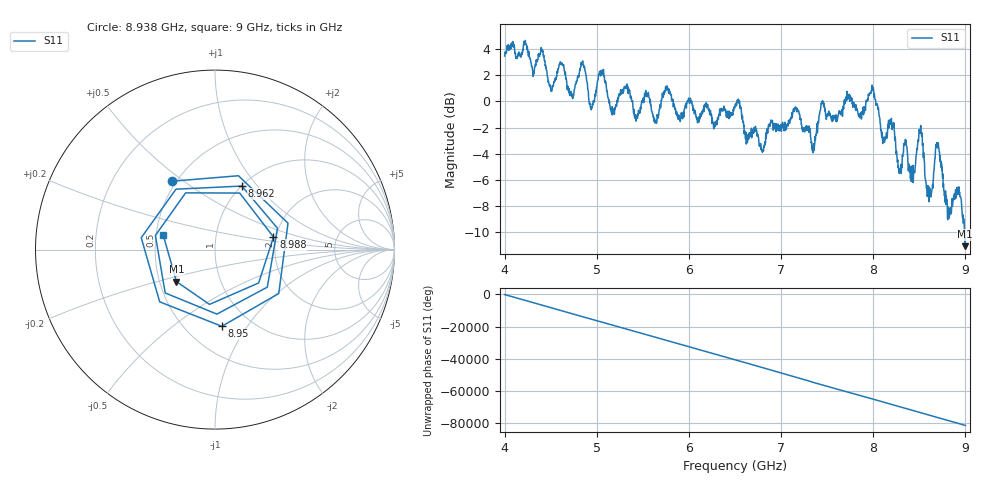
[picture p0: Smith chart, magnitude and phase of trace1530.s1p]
! Created with skrf 1.8.0 (http://scikit-rf.org).
# Hz S RI R 50.0
!freq ReS11 ImS11
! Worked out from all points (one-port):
!   1601 points, 4 GHz to 9 GHz, reference 50 ohm
!   lowest |S11| = -11.1 dB at 8.997 GHz (marker M1), VSWR 1.77, Z = 30.6 - j11.8 ohm
!   |S11| at or under -10 dB: 8.989854 GHz to end of sweep
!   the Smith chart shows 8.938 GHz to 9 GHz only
!   S11 on the Smith chart (normalised r, x): 8.938 GHz: 0.48, +0.45; 8.95 GHz: 0.74, -0.77; 8.962 GHz: 1.00, +0.83; 8.988 GHz: 1.94, +0.31; 9 GHz: 0.55, +0.10
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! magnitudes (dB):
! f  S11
! 4 GHz  3.5
! 4.625 GHz  2.9
! 4.728 GHz  0.5
! 4.853 GHz  2.8
! 4.941 GHz  -0.6
! 5.047 GHz  2.4
! 5.25 GHz  0.6
! 5.875 GHz  -1.0
! 6.5 GHz  -0.3
! 6.794 GHz  -3.8
! 7.125 GHz  -1.0
! 7.347 GHz  -3.9
! 7.447 GHz  -0.1
! 7.75 GHz  0.5
! 7.991 GHz  0.9
! 8.109 GHz  -2.8
! 8.375 GHz  -4.4
! 8.428 GHz  -6.1
! 8.512 GHz  -2.1
! 8.603 GHz  -7.0
! 8.7 GHz  -3.2
! 8.822 GHz  -8.5
! 8.938 GHz  -7.0
! 8.95 GHz  -7.4
! 8.962 GHz  -8.3
! 8.988 GHz  -9.5
! 8.997 GHz  -11.1
! 9 GHz  -10.5
